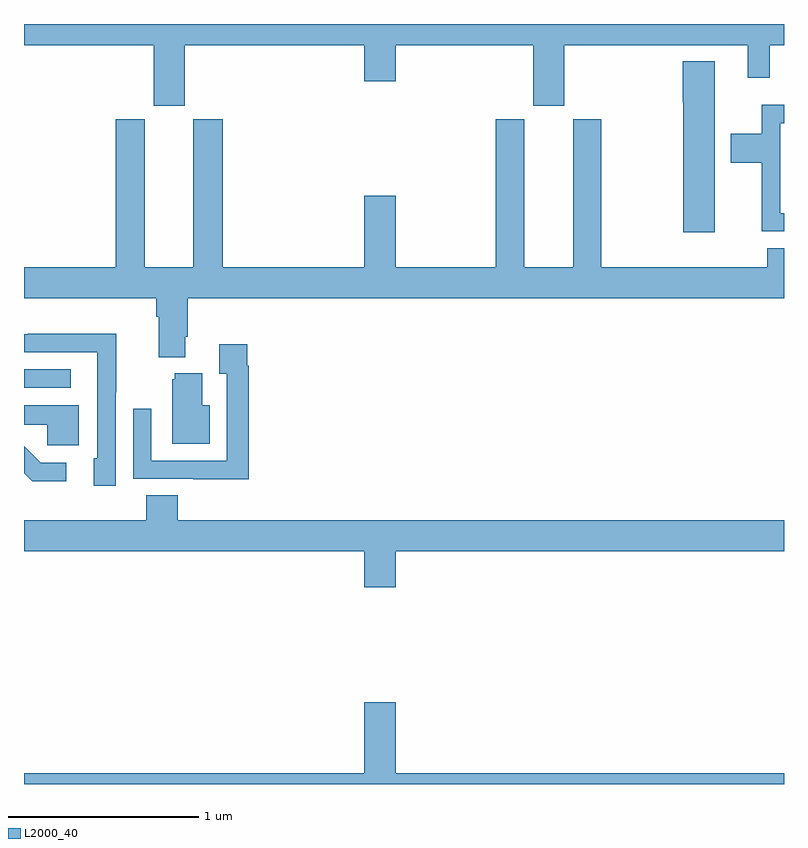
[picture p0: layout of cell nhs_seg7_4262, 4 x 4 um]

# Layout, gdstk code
import gdstk
lib = gdstk.Library(unit=1e-6, precision=1e-09)
def R(c, l, rs):  # rectangles x0, y0, x1, y1
    for r in rs: c.add(gdstk.rectangle(r[:2], r[2:], *l))
def P(c, l, *ps):  # polygons
    for p in ps: c.add(gdstk.Polygon(p, *l))
L2000_40 = (2000, 40)

nhs_seg7_4262 = lib.new_cell('nhs_seg7_4262')
R(nhs_seg7_4262, L2000_40, [(379,1060.086,379.246,1060.182)])
P(nhs_seg7_4262, L2000_40, [(379.846,1061.888),(380.792,1061.888),(380.792,1061.7),(380.956,1061.7),(380.956,1061.888),(381.68,1061.888),(381.68,1061.571),(381.844,1061.571),(381.844,1061.888),(382.808,1061.888),(382.808,1061.718),(382.925,1061.718),(382.925,1061.888),(383,1061.888),(383,1062),(379,1062),(379,1061.888),(379.682,1061.888),(379.682,1061.571),(379.846,1061.571)],
  [(382.636,1061.803),(382.466,1061.803),(382.466,1061.59),(382.471,1061.59),(382.471,1060.905),(382.636,1060.905)],
  [(383,1061.004),(382.98,1061.004),(382.98,1061.478),(383,1061.478),(383,1061.575),(382.882,1061.575),(382.882,1061.422),(382.721,1061.422),(382.721,1061.27),(382.882,1061.27),(382.882,1060.908),(383,1060.908)],
  [(379.849,1060.354),(379.862,1060.354),(379.862,1060.556),(383,1060.556),(383,1060.819),(382.913,1060.819),(382.913,1060.72),(382.038,1060.72),(382.038,1061.499),(381.89,1061.499),(381.89,1060.72),(381.634,1060.72),(381.634,1061.499),(381.482,1061.499),(381.482,1060.72),(380.956,1060.72),(380.956,1061.095),(380.792,1061.095),(380.792,1060.72),(380.045,1060.72),(380.045,1061.499),(379.892,1061.499),(379.892,1060.72),(379.636,1060.72),(379.636,1061.499),(379.484,1061.499),(379.484,1060.72),(379,1060.72),(379,1060.556),(379.697,1060.556),(379.697,1060.46),(379.709,1060.46),(379.709,1060.247),(379.849,1060.247)],
  [(379.482,1060.063),(379.485,1060.063),(379.485,1060.37),(379.021,1060.37),(379.021,1060.368),(379,1060.368),(379,1060.272),(379.385,1060.272),(379.385,1060.039),(379.386,1060.039),(379.386,1059.714),(379.367,1059.714),(379.367,1059.57),(379.482,1059.57)],
  [(380.183,1060.202),(380.176,1060.202),(380.176,1060.315),(380.027,1060.315),(380.027,1060.159),(380.067,1060.159),(380.067,1059.702),(379.671,1059.702),(379.671,1059.976),(379.575,1059.976),(379.575,1059.606),(379.891,1059.606),(379.891,1059.605),(380.183,1059.605)],
  [(379.978,1059.994),(379.939,1059.994),(379.939,1060.162),(379.793,1060.162),(379.793,1060.131),(379.781,1060.131),(379.781,1059.791),(379.978,1059.791)],
  [(379.288,1059.994),(379,1059.994),(379,1059.89),(379.123,1059.89),(379.123,1059.782),(379.288,1059.782)],
  [(379.222,1059.69),(379.087,1059.69),(379,1059.777),(379,1059.636),(379.043,1059.593),(379.222,1059.593)],
  [(380.956,1059.224),(383,1059.224),(383,1059.388),(379.808,1059.388),(379.808,1059.521),(379.643,1059.521),(379.643,1059.388),(379,1059.388),(379,1059.224),(380.792,1059.224),(380.792,1059.036),(380.956,1059.036)],
  [(383,1058.056),(380.956,1058.056),(380.956,1058.431),(380.792,1058.431),(380.792,1058.056),(379,1058.056),(379,1058),(383,1058)])

lib.write_gds('nhs_seg7_4262.gds')
